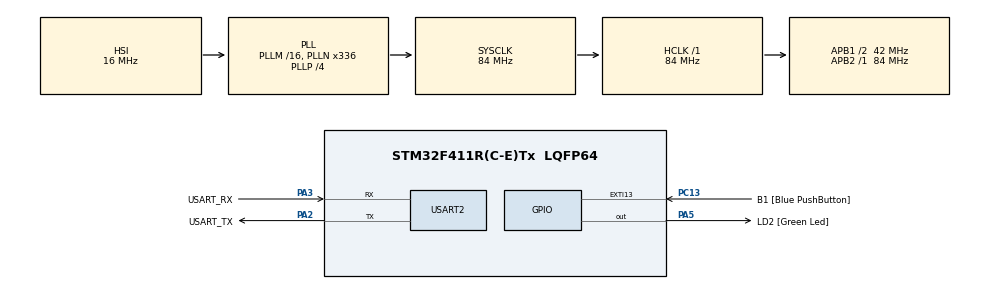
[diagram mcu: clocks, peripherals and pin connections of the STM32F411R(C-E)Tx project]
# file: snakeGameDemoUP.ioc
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Dma.Request0=USART2_RX
Dma.USART2_RX.0.Direction=DMA_PERIPH_TO_MEMORY
Dma.USART2_RX.0.FIFOMode=DMA_FIFOMODE_DISABLE
Dma.USART2_RX.0.Instance=DMA1_Stream5
Dma.USART2_RX.0.MemDataAlignment=DMA_MDATAALIGN_BYTE
Dma.USART2_RX.0.MemInc=DMA_MINC_ENABLE
Dma.USART2_RX.0.Mode=DMA_CIRCULAR
Dma.USART2_RX.0.PeriphDataAlignment=DMA_PDATAALIGN_BYTE
Dma.USART2_RX.0.PeriphInc=DMA_PINC_DISABLE
Dma.USART2_RX.0.Priority=DMA_PRIORITY_LOW
Mcu.Family=STM32F4
Mcu.Name=STM32F411R(C-E)Tx
Mcu.Package=LQFP64
NVIC.DMA1_Stream5_IRQn=true\:0\:0\:false\:false\:true\:false\:true
NVIC.PriorityGroup=NVIC_PRIORITYGROUP_0
NVIC.USART2_IRQn=true\:0\:0\:false\:false\:true\:true\:true
PA13.GPIO_Label=TMS
PA13.Mode=Serial_Wire
PA13.Signal=SYS_JTMS-SWDIO
PA14.GPIO_Label=TCK
PA14.Mode=Serial_Wire
PA14.Signal=SYS_JTCK-SWCLK
PA2.GPIO_Label=USART_TX
PA2.Mode=Asynchronous
PA2.Signal=USART2_TX
PA3.GPIO_Label=USART_RX
PA3.Mode=Asynchronous
PA3.Signal=USART2_RX
PA5.GPIO_Label=LD2 [Green Led]
PA5.Signal=GPIO_Output
PB3.GPIO_Label=SWO
PB3.Signal=SYS_JTDO-SWO
PC13-ANTI_TAMP.GPIO_Label=B1 [Blue PushButton]
PC13-ANTI_TAMP.GPIO_ModeDefaultEXTI=GPIO_MODE_IT_FALLING
PC13-ANTI_TAMP.Signal=GPXTI13
PC14-OSC32_IN.Mode=LSE-External-Oscillator
PC14-OSC32_IN.Signal=RCC_OSC32_IN
PC15-OSC32_OUT.Mode=LSE-External-Oscillator
PC15-OSC32_OUT.Signal=RCC_OSC32_OUT
PH0\ -\ OSC_IN.Mode=HSE-External-Clock-Source
PH0\ -\ OSC_IN.Signal=RCC_OSC_IN
PH1\ -\ OSC_OUT.Mode=HSE-External-Clock-Source
PH1\ -\ OSC_OUT.Signal=RCC_OSC_OUT
ProjectManager.HeapSize=0x200
ProjectManager.StackSize=0x400
ProjectManager.TargetToolchain=STM32CubeIDE
RCC.48MHZClocksFreq_Value=84000000
RCC.AHBFreq_Value=84000000
RCC.APB1CLKDivider=RCC_HCLK_DIV2
RCC.APB1Freq_Value=42000000
RCC.APB1TimFreq_Value=84000000
RCC.APB2Freq_Value=84000000
RCC.APB2TimFreq_Value=84000000
RCC.CortexFreq_Value=84000000
RCC.FLatency-AdvancedSettings=FLASH_LATENCY_2
RCC.HCLKFreq_Value=84000000
RCC.HSE_VALUE=8000000
RCC.HSI_VALUE=16000000
RCC.PLLN=336
RCC.PLLP=RCC_PLLP_DIV4
RCC.SYSCLKFreq_VALUE=84000000
RCC.SYSCLKSource=RCC_SYSCLKSOURCE_PLLCLK
RCC.VCOOutputFreq_Value=336000000
USART2.VirtualMode=VM_ASYNC
board=NUCLEO-F411RE

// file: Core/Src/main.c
/* USER CODE BEGIN Header */
/**
 ******************************************************************************
 * @file           : main.c
 * @brief          : Main program body
 ******************************************************************************
 * @attention
 *
 * <h2><center>&copy; Copyright (c) 2020 STMicroelectronics.
 * All rights reserved.</center></h2>
 *
 * This software component is licensed by ST under BSD 3-Clause license,
 * the "License"; You may not use this file except in compliance with the
 * License. You may obtain a copy of the License at:
 *                        opensource.org/licenses/BSD-3-Clause
 *
 ******************************************************************************
 */
/* USER CODE END Header */

#include "main.h"

/* USER CODE BEGIN Includes */
//#include <stdio.h>
//#include <time.h>
//#include <stdlib.h>
//#include<stdint.h>
/* USER CODE END Includes */

/* USER CODE BEGIN PD */
#define width 80
#define height 25
/* USER CODE END PD */

UART_HandleTypeDef huart2;
DMA_HandleTypeDef hdma_usart2_rx;

void SystemClock_Config(void);
static void MX_GPIO_Init(void);
static void MX_DMA_Init(void);
static void MX_USART2_UART_Init(void);

/* USER CODE BEGIN 0 */

// -> y-axis  horicontal  ,    v x-axis vertical
int gameSpeed = 5;
int isGameOver;
int headX, headY, powerX, powerY, score, nTail = 1;
int headX2, headY2;
int tailX[width * height]; // array of x-axis of tail
int tailY[width * height]; // array of y-axis of tail
enum eDirection { //direction of head
	STOP = 0, LEFT, RIGHT, UP, DOWN
};
enum eDirection dir;
uint8_t field[100][100]; // 0 space, 1 tailsnake, 2 headsnake, 3 power
uint8_t inputText[1];
uint8_t space[] = " "; // 0
uint8_t tail[] = "O"; // 1
uint8_t head[] = "H"; // 2
uint8_t headleft[] = "<"; // 2 left
uint8_t headup[] = "^"; // 2 up
uint8_t headright[] = ">"; // 2 right
uint8_t headdown[] = "V"; // 2 down
uint8_t power[] = "P"; // 3
uint8_t left[] = "DIRECTION : LEFT \r\n";
uint8_t up[] = "DIRECTION : UP   \r\n";
uint8_t right[] = "DIRECTION : RIGHT\r\n";
uint8_t down[] = "DIRECTION : DOWN \r\n";

void setCurcor(int x, int y); //assign position of cursor
void repositionPower(); //reposition of power
void setup(); // setup game befor start
void drawEdge(); // draw a frame
void updateTail(int x, int y); // update position of tail
void drawSnake(); // draw head and tail of snake
void checkPosition(); // check that is head through the frame
void checkEatPower();
void checkEatTail();
void move();
void printScore();
void printDir();
void printPosition();
void printSpeed();
void printDes();
void printIns();

void setCurcor(int x, int y) { // start 0,0
	x++, y++;
	int size = 6;
	if (x >= 10)
		size++;
	if (y >= 10)
		size++;
	char command[15];
	sprintf(command, "%s%d%c%d%c", "\033[", x, ';', y, 'H');
	HAL_UART_Transmit(&huart2, command, size, HAL_MAX_DELAY);
}

void repositionPower() {
	powerY = (rand() % width) + 1;
	powerX = (rand() % height) + 1;
	if (field[powerX][powerY] != 0)
		repositionPower();
	field[powerX][powerY] = 3;
	setCurcor(powerX, powerY);
	HAL_UART_Transmit(&huart2, power, sizeof(power), HAL_MAX_DELAY);
}

void setup() {
	isGameOver = 0;
	dir = STOP;
	headX = height / 2;
	headY = width / 2;
	field[headX][headY] = 2;
	repositionPower();
	printIns();
}

void drawEdge() {
	setCurcor(0, 0);
	uint8_t horizonEdge[width + 5] = "";
	for (int i = 0; i <= width + 1; i++)
		strcat(horizonEdge, "-");
	strcat(horizonEdge, "\n\r");
	HAL_UART_Transmit(&huart2, horizonEdge, sizeof(horizonEdge), HAL_MAX_DELAY);
	uint8_t verticalEdge[width + 5] = "";
	strcat(verticalEdge, "|");
	for (int i = 1; i <= width; i++)
		strcat(verticalEdge, " ");
	strcat(verticalEdge, "|\r\n");
	for (int i = 1; i <= height; i++) {
		HAL_UART_Transmit(&huart2, verticalEdge, width + 5, HAL_MAX_DELAY);
	}
	HAL_UART_Transmit(&huart2, horizonEdge, width + 5, HAL_MAX_DELAY);
}

void updateTail(int x, int y) {
	int tempX1 = tailX[0];
	int tempY1 = tailY[0];
	int tempX2, tempY2;
	tailX[0] = x;
	tailY[0] = y;
	for (int i = 1; i <= nTail; i++) {
		tempX2 = tailX[i];
		tempY2 = tailY[i];
		tailX[i] = tempX1;
		tailY[i] = tempY1;
		tempX1 = tempX2;
		tempY1 = tempY2;
	}
	field[tailX[0]][tailY[0]] = 1;
	field[tempX2][tempY2] = 0;
	setCurcor(tempX2, tempY2);
	HAL_UART_Transmit(&huart2, space, sizeof(space), HAL_MAX_DELAY);

}

void drawSnake() {
	for (int x = 1; x <= height; x++) {
		for (int y = 1; y <= width; y++) {
			if (field[x][y] == 1) {
				setCurcor(x, y);
				HAL_UART_Transmit(&huart2, tail, sizeof(tail), HAL_MAX_DELAY);
			} else if (field[x][y] == 2) {
				setCurcor(x, y);
				switch (dir) {
				case LEFT:
					HAL_UART_Transmit(&huart2, headleft, sizeof(headleft),
					HAL_MAX_DELAY);
					break;
				case UP:
					HAL_UART_Transmit(&huart2, headup, sizeof(headup),
					HAL_MAX_DELAY);
					break;
				case RIGHT:
					HAL_UART_Transmit(&huart2, headright, sizeof(headright),
					HAL_MAX_DELAY);
					break;
				case DOWN:
					HAL_UART_Transmit(&huart2, headdown, sizeof(headdown),
					HAL_MAX_DELAY);
					break;
				default:
					break;
				}
			}
		}
	}
}

void checkPosition() {
	if (headY >= width + 1)
		headY = 1;
	else if (headY <= 0)
		headY = width;
	if (headX >= height + 1)
		headX = 1;
	else if (headX <= 0)
		headX = height;
}

void checkEatPower() {//
	if (field[headX][headY] == 3) {
		nTail++;
		score++;
		printScore();
		repositionPower();
		gameSpeed += 1;
		printSpeed();
	}
}

void checkEatTail() {
	if (dir != STOP && field[headX][headY] == 1)
		isGameOver = 1;
}

void move() {
	headX2 = headX;
	headY2 = headY;
	switch (dir) {
	case LEFT:
		headY--;
		break;
	case UP:
		headX--;
		break;
	case RIGHT:
		headY++;
		break;
	case DOWN:
		headX++;
		break;
	default:
		break;
	}
	checkPosition();
	printPosition();
	checkEatPower();
	checkEatTail();
	field[headX][headY] = 2;
	updateTail(headX2, headY2);
	drawSnake();

}

void printScore() {
	setCurcor(27, 0);
	uint8_t temp[16] = "";
	sprintf(temp, " SCORE = %3d\r\n", score);
	HAL_UART_Transmit(&huart2, temp, sizeof(temp), HAL_MAX_DELAY);
}

void printDir() {
	switch (dir) {
	case LEFT:
		setCurcor(28, 0);
		HAL_UART_Transmit(&huart2, left, sizeof(left), HAL_MAX_DELAY);
		break;
	case UP:
		setCurcor(28, 0);
		HAL_UART_Transmit(&huart2, up, sizeof(up), HAL_MAX_DELAY);
		break;
	case RIGHT:
		setCurcor(28, 0);
		HAL_UART_Transmit(&huart2, right, sizeof(right), HAL_MAX_DELAY);
		break;
	case DOWN:
		setCurcor(28, 0);
		HAL_UART_Transmit(&huart2, down, sizeof(down), HAL_MAX_DELAY);
		break;
	default:
		break;
	}
}

void printPosition() {
	uint8_t positionHead[19] = "";
	sprintf(positionHead, " Y = %2d  X = %2d\r\n", headY, headX);
	setCurcor(29, 0);
	HAL_UART_Transmit(&huart2, positionHead, sizeof(positionHead),
	HAL_MAX_DELAY);
	uint8_t positionPower[19] = "";
	sprintf(positionPower, "pY = %2d pX = %2d\r\n", powerY, powerX);
	setCurcor(30, 0);
	HAL_UART_Transmit(&huart2, positionPower, sizeof(positionPower),
	HAL_MAX_DELAY);
}

void printSpeed() {
	uint8_t speed[19] = "";
	sprintf(speed, " SPEED = %3d\r\n", gameSpeed);
	setCurcor(31, 0);
	HAL_UART_Transmit(&huart2, speed, sizeof(speed),
	HAL_MAX_DELAY);
}

void printDes() {
	printScore();
	printDir();
	printPosition();
	printSpeed();
}

void printIns() {
	uint8_t l[] = "a = LEFT";
	setCurcor(27, 60);
	HAL_UART_Transmit(&huart2, l, sizeof(l),
	HAL_MAX_DELAY);
	uint8_t u[] = "w = UP";
	setCurcor(28, 60);
	HAL_UART_Transmit(&huart2, u, sizeof(u),
	HAL_MAX_DELAY);
	uint8_t r[] = "d = RIGHT";
	setCurcor(29, 60);
	HAL_UART_Transmit(&huart2, r, sizeof(r),
	HAL_MAX_DELAY);
	uint8_t d[] = "s = DOWN";
	setCurcor(30, 60);
	HAL_UART_Transmit(&huart2, d, sizeof(d),
	HAL_MAX_DELAY);
	uint8_t key[] = "Please choose any direction to start";
	setCurcor(31, 40);
	HAL_UART_Transmit(&huart2, key, sizeof(key),
	HAL_MAX_DELAY);
}

void HAL_UART_RxCpltCallback(UART_HandleTypeDef *huart) {
	/* Prevent unused argument(s) compilation warning */
	UNUSED(huart);
	/* NOTE : This function should not be modified, when the callback is needed,
	 the HAL_UART_RxCpltCallback can be implemented in the user file
	 */
	switch (*inputText) {
	case 'a':
		if (dir == RIGHT)
			break;
		dir = LEFT;
		printDir();
		break;
	case 'w':
		if (dir == DOWN)
			break;
		dir = UP;
		printDir();
		break;
	case 'd':
		if (dir == LEFT)
			break;
		dir = RIGHT;
		printDir();
		break;
	case 's':
		if (dir == UP)
			break;
		dir = DOWN;
		printDir();
		break;
	default:
		break;
	}
}

/* USER CODE END 0 */

int main(void) {

	/* MCU Configuration--------------------------------------------------------*/

	/* Reset of all peripherals, Initializes the Flash interface and the Systick. */
	HAL_Init();

	/* Configure the system clock */
	SystemClock_Config();

	/* Initialize all configured peripherals */
	MX_GPIO_Init();
	MX_DMA_Init();
	MX_USART2_UART_Init();
	/* USER CODE BEGIN 2 */
	HAL_UART_Receive_DMA(&huart2, inputText, sizeof(inputText));
	srand((unsigned) (time(NULL)));
	drawEdge();
	setup();
	printDes();
	/* USER CODE END 2 */

	/* Infinite loop */
	/* USER CODE BEGIN WHILE */

	while (!isGameOver) {
		/* USER CODE END WHILE */
		move();
		if (dir == LEFT || dir == RIGHT)
			HAL_Delay(300 / gameSpeed);
		if (dir == UP || dir == DOWN)
			HAL_Delay(800 / gameSpeed);
		/* USER CODE BEGIN 3 */
	}
	printDes();
	uint8_t gameOverText[] = "Game Over !!!\r\n";
	setCurcor(height / 4, width / 2 - 10);
	HAL_UART_Transmit(&huart2, gameOverText, sizeof(gameOverText),
	HAL_MAX_DELAY);
	/* USER CODE END 3 */
}

/** -----------------------------------------------------------------------------------
 * @brief System Clock Configuration
 * @retval None
 */
void SystemClock_Config(void) {
	RCC_OscInitTypeDef RCC_OscInitStruct = { 0 };
	RCC_ClkInitTypeDef RCC_ClkInitStruct = { 0 };

	/** Configure the main internal regulator output voltage
	 */
	__HAL_RCC_PWR_CLK_ENABLE();
	__HAL_PWR_VOLTAGESCALING_CONFIG(PWR_REGULATOR_VOLTAGE_SCALE1);
	/** Initializes the CPU, AHB and APB busses clocks
	 */
	RCC_OscInitStruct.OscillatorType = RCC_OSCILLATORTYPE_HSI;
	RCC_OscInitStruct.HSIState = RCC_HSI_ON;
	RCC_OscInitStruct.HSICalibrationValue = RCC_HSICALIBRATION_DEFAULT;
	RCC_OscInitStruct.PLL.PLLState = RCC_PLL_ON;
	RCC_OscInitStruct.PLL.PLLSource = RCC_PLLSOURCE_HSI;
	RCC_OscInitStruct.PLL.PLLM = 16;
	RCC_OscInitStruct.PLL.PLLN = 336;
	RCC_OscInitStruct.PLL.PLLP = RCC_PLLP_DIV4;
	RCC_OscInitStruct.PLL.PLLQ = 4;
	if (HAL_RCC_OscConfig(&RCC_OscInitStruct) != HAL_OK) {
		Error_Handler();
	}
	/** Initializes the CPU, AHB and APB busses clocks
	 */
	RCC_ClkInitStruct.ClockType = RCC_CLOCKTYPE_HCLK | RCC_CLOCKTYPE_SYSCLK
			| RCC_CLOCKTYPE_PCLK1 | RCC_CLOCKTYPE_PCLK2;
	RCC_ClkInitStruct.SYSCLKSource = RCC_SYSCLKSOURCE_PLLCLK;
	RCC_ClkInitStruct.AHBCLKDivider = RCC_SYSCLK_DIV1;
	RCC_ClkInitStruct.APB1CLKDivider = RCC_HCLK_DIV2;
	RCC_ClkInitStruct.APB2CLKDivider = RCC_HCLK_DIV1;

	if (HAL_RCC_ClockConfig(&RCC_ClkInitStruct, FLASH_LATENCY_2) != HAL_OK) {
		Error_Handler();
	}
}

static void MX_USART2_UART_Init(void) {

	huart2.Instance = USART2;
	huart2.Init.BaudRate = 115200;
	huart2.Init.WordLength = UART_WORDLENGTH_8B;
	huart2.Init.StopBits = UART_STOPBITS_1;
	huart2.Init.Parity = UART_PARITY_NONE;
	huart2.Init.Mode = UART_MODE_TX_RX;
	huart2.Init.HwFlowCtl = UART_HWCONTROL_NONE;
	huart2.Init.OverSampling = UART_OVERSAMPLING_16;
	if (HAL_UART_Init(&huart2) != HAL_OK) {
		Error_Handler();
	}

}

static void MX_DMA_Init(void) {

	/* DMA controller clock enable */
	__HAL_RCC_DMA1_CLK_ENABLE();

	/* DMA interrupt init */
	/* DMA1_Stream5_IRQn interrupt configuration */
	HAL_NVIC_SetPriority(DMA1_Stream5_IRQn, 0, 0);
	HAL_NVIC_EnableIRQ(DMA1_Stream5_IRQn);

}

static void MX_GPIO_Init(void) {
	GPIO_InitTypeDef GPIO_InitStruct = { 0 };

	/* GPIO Ports Clock Enable */
	__HAL_RCC_GPIOC_CLK_ENABLE();
	__HAL_RCC_GPIOH_CLK_ENABLE();
	__HAL_RCC_GPIOA_CLK_ENABLE();
	__HAL_RCC_GPIOB_CLK_ENABLE();

	/*Configure GPIO pin Output Level */
	HAL_GPIO_WritePin(LD2_GPIO_Port, LD2_Pin, GPIO_PIN_RESET);

	/*Configure GPIO pin : B1_Pin */
	GPIO_InitStruct.Pin = B1_Pin;
	GPIO_InitStruct.Mode = GPIO_MODE_IT_FALLING;
	GPIO_InitStruct.Pull = GPIO_NOPULL;
	HAL_GPIO_Init(B1_GPIO_Port, &GPIO_InitStruct);

	/*Configure GPIO pin : LD2_Pin */
	GPIO_InitStruct.Pin = LD2_Pin;
	GPIO_InitStruct.Mode = GPIO_MODE_OUTPUT_PP;
	GPIO_InitStruct.Pull = GPIO_NOPULL;
	GPIO_InitStruct.Speed = GPIO_SPEED_FREQ_LOW;
	HAL_GPIO_Init(LD2_GPIO_Port, &GPIO_InitStruct);

}

void Error_Handler(void) {
}

/************************ (C) COPYRIGHT STMicroelectronics *****END OF FILE****/
